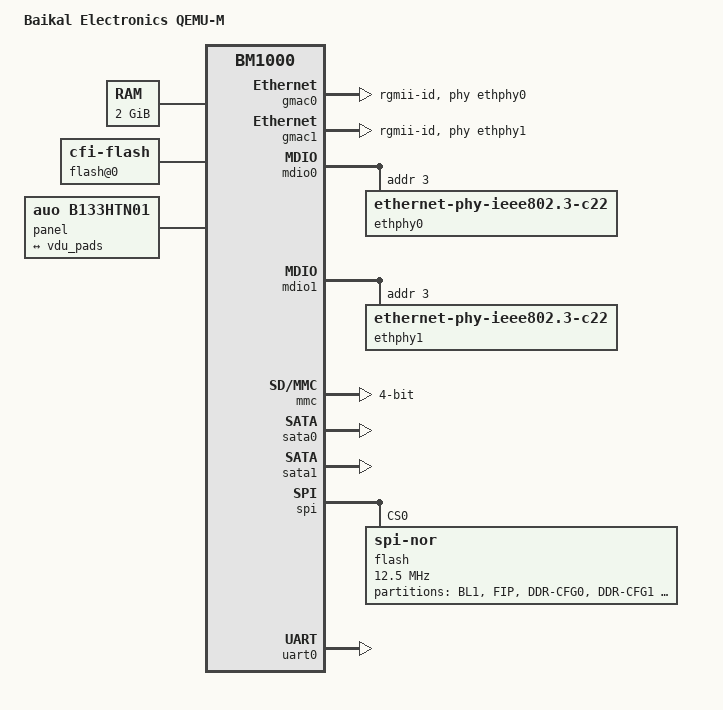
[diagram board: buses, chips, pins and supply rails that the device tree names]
// SPDX-License-Identifier: GPL-2.0
/*
 * Device tree source for Baikal Electronics QEMU-M virtual platform
 * Copyright (C) 2018-2024 Baikal Electronics, JSC
 */

/dts-v1/;

#include "bm1000.dtsi"

/ {
	model = "Baikal Electronics QEMU-M";
	compatible = "baikal,qemu-m", "baikal,bm1000";

	aliases {
		ethernet0 = &gmac0;
		ethernet1 = &gmac1;
	};

	chosen { };

	memory@80000000 {
		device_type = "memory";
		reg = <0x00000000 0x80000000 0x0 0x80000000>; /* 2 GiB */
	};

	/*
	 * Device is necessary for UEFI to boot on QEMU,
	 * need to replace it with something later.
	 */
	flash@0 {
		compatible = "cfi-flash";
		reg = <0x0 0x4000000 0x0 0x4000000>;
		bank-width = <0x4>;
	};

	panel: panel {
		compatible = "auo,b133htn01";		/* 1920x1080 */
		port {
			lcd_panel: endpoint {
				remote-endpoint = <&vdu_pads>;
			};
		};
	};
};

&gmac0 {
	status = "okay";
	phy-handle = <&ethphy0>;
	phy-mode = "rgmii-id";
};

&gmac1 {
	status = "okay";
	phy-handle = <&ethphy1>;
	phy-mode = "rgmii-id";
};

&mdio0 {
	ethphy0: ethernet-phy@3 {
		compatible = "ethernet-phy-ieee802.3-c22";
		reg = <0x3>;
	};
};

&mdio1 {
	ethphy1: ethernet-phy@3 {
		compatible = "ethernet-phy-ieee802.3-c22";
		reg = <0x3>;
	};
};

&mmc {
	/* SD */
	status = "okay";
	bus-width = <4>;
	max-frequency = <25000000>;
	disable-wp;
	no-mmc;
	no-sdio;
};

&sata0 {
	status = "okay";
};

&sata1 {
	status = "okay";
};

&spi {
	status = "okay";
	num-cs = <6>;

	flash@0 {
		compatible = "jedec,spi-nor";
		reg = <0>;
		spi-max-frequency = <12500000>;
		spi-tx-bus-width = <1>;
		spi-rx-bus-width = <1>;
		status = "okay";

		partitions {
			compatible = "fixed-partitions";
			#address-cells = <1>;
			#size-cells = <1>;

			partition@0 {
				label = "BL1";
				reg = <0x000000 0x10000>;
			};

			partition@40000 {
				label = "FIP";
				reg = <0x40000 0x200000>;
			};

			partition@240000 {
				label = "DDR-CFG0";
				reg = <0x240000 0x40000>;
			};

			partition@280000 {
				label = "DDR-CFG1";
				reg = <0x280000 0x40000>;
			};

			partition@2c0000 {
				label = "UEFI vars";
				reg = <0x2c0000 0xc0000>;
			};
		};
	};
};

&uart0 {
	status = "okay";
};

&vdu0 {
	port {
		vdu_pads: endpoint {
			remote-endpoint = <&lcd_panel>;
		};
	};
};
